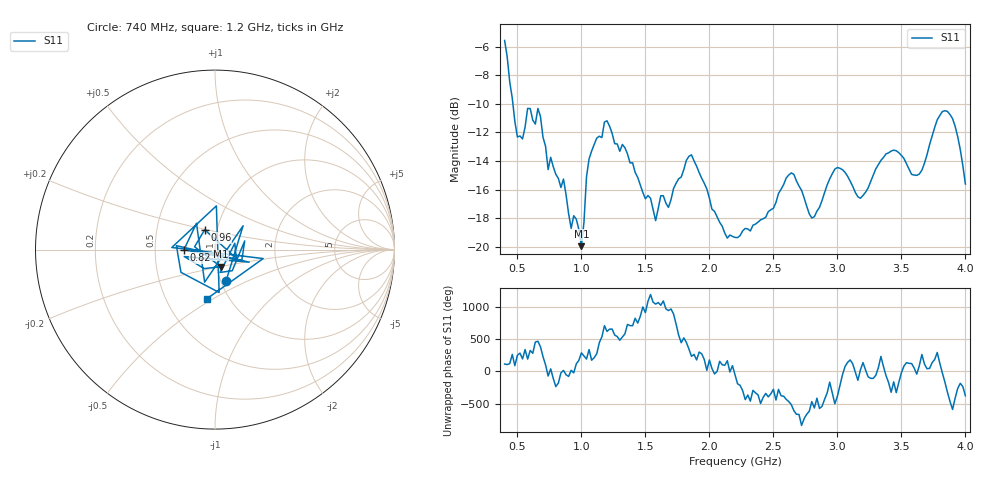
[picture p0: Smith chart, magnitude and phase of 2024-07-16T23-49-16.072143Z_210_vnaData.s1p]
!Created with skrf (http://scikit-rf.org).
# Hz S RI R 50.0
!freq ReS11 ImS11
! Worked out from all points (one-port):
!   181 points, 400 MHz to 4 GHz, reference 50 ohm
!   lowest |S11| = -20.0 dB at 1 GHz (marker M1), VSWR 1.22, Z = 52.3 - j10.1 ohm
!   |S11| at or under -10 dB: 464.9 MHz to end of sweep
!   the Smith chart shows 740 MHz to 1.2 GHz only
!   S11 on the Smith chart (normalised r, x): 740 MHz: 1.06, -0.39; 820 MHz: 0.70, -0.00; 960 MHz: 0.87, +0.20; 1.2 GHz: 0.79, -0.47
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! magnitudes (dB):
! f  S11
! 400 MHz  -5.6
! 500 MHz  -12.3
! 660 MHz  -10.3
! 740 MHz  -14.6
! 820 MHz  -15.2
! 860 MHz  -15.3
! 920 MHz  -18.7
! 960 MHz  -18.1
! 1 GHz  -20.0
! 1.06 GHz  -13.9
! 1.2 GHz  -11.2
! 1.3 GHz  -13.3
! 1.58 GHz  -18.2
! 1.62 GHz  -16.4
! 1.76 GHz  -15.2
! 1.86 GHz  -13.6
! 2.2 GHz  -19.4
! 2.66 GHz  -14.9
! 2.8 GHz  -18.0
! 2.98 GHz  -14.6
! 3.1 GHz  -15.4
! 3.18 GHz  -16.6
! 3.44 GHz  -13.2
! 3.56 GHz  -14.6
! 3.66 GHz  -14.6
! 3.84 GHz  -10.5
! 3.92 GHz  -11.6
! 4 GHz  -15.6
